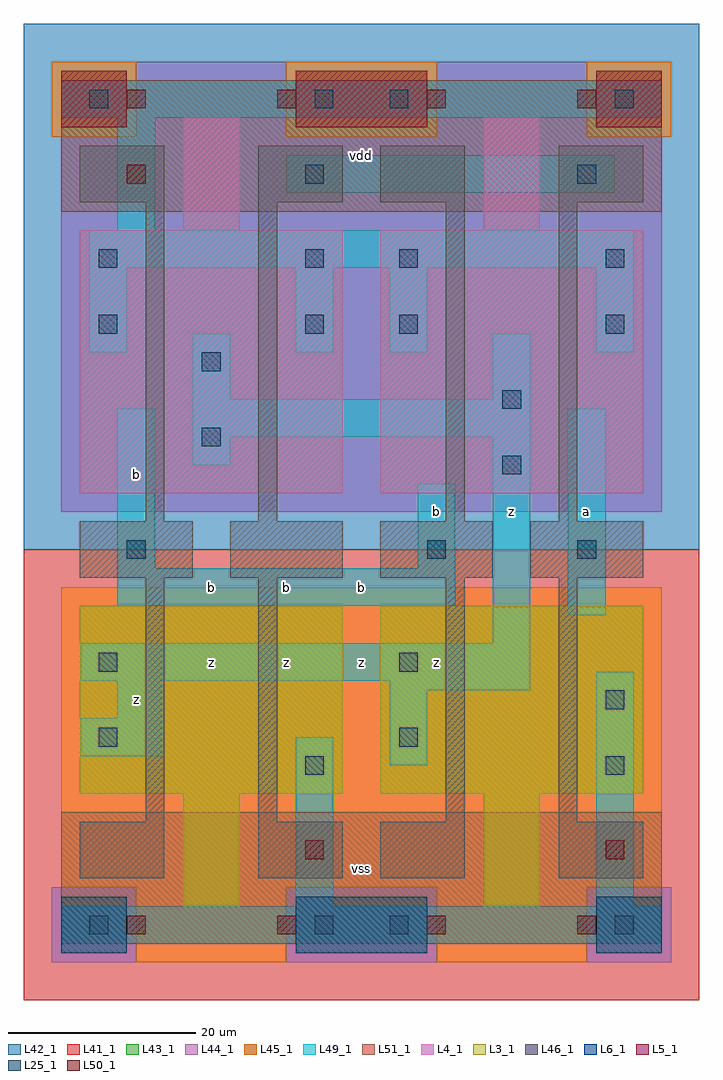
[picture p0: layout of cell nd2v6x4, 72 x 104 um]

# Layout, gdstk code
import gdstk
lib = gdstk.Library(unit=1e-6, precision=1e-09)
def R(c, l, rs):  # rectangles x0, y0, x1, y1
    for r in rs: c.add(gdstk.rectangle(r[:2], r[2:], *l))
def A(c, l, x, y, w, h, nx, ny, dx, dy):  # array of equal rectangles
    R(c, l, [(x+i*dx, y+j*dy, x+i*dx+w, y+j*dy+h) for i in range(nx) for j in range(ny)])
L3_1 = (3, 1)
L4_1 = (4, 1)
L5_1 = (5, 1)
L6_1 = (6, 1)
L25_1 = (25, 1)
L41_1 = (41, 1)
L42_1 = (42, 1)
L43_1 = (43, 1)
L44_1 = (44, 1)
L45_1 = (45, 1)
L46_1 = (46, 1)
L49_1 = (49, 1)
L50_1 = (50, 1)
L51_1 = (51, 1)

nd2v6x4 = lib.new_cell('nd2v6x4')
R(nd2v6x4, L3_1, [(13,2,19,14), (45,2,51,14), (2,14,30,34), (34,14,62,34)])
R(nd2v6x4, L4_1, [(2,46,30,74), (34,46,62,74), (13,74,19,86), (45,74,51,86)])
R(nd2v6x4, L5_1, [(0,85,7,91), (25,85,39,91), (57,85,64,91)])
R(nd2v6x4, L6_1, [(0,-3,7,3), (0,-3,7,3), (25,-3,39,3), (25,-3,39,3), (57,-3,64,3), (57,-3,64,3)])
R(nd2v6x4, L25_1, [(3,-1,5,1), (27,-1,29,1), (35,-1,37,1), (59,-1,61,1), (26,16,28,18), (58,16,60,18), (4,19,6,21), (36,19,38,21), (58,23,60,25), (4,27,6,29), (36,27,38,29), (7,39,9,41), (39,39,41,41), (55,39,57,41), (47,48,49,50), (15,51,17,53), (47,55,49,57), (15,59,17,61), (4,63,6,65), (26,63,28,65), (36,63,38,65), (58,63,60,65), (4,70,6,72), (26,70,28,72), (36,70,38,72), (58,70,60,72), (26,79,28,81), (55,79,57,81), (3,87,5,89), (27,87,29,89), (35,87,37,89), (59,87,61,89)])
R(nd2v6x4, L41_1, [(-4,-8,68,40)])
R(nd2v6x4, L42_1, [(-4,40,68,96)])
R(nd2v6x4, L43_1, [(0,-3,7,3), (25,-3,39,3), (57,-3,64,3), (13,2,19,14), (45,2,51,14), (2,14,30,34), (34,14,62,34), (2,46,30,74), (34,46,62,74), (13,74,19,86), (45,74,51,86), (0,85,7,91), (25,85,39,91), (57,85,64,91)])
R(nd2v6x4, L44_1, [(-1,-4,8,4), (24,-4,40,4), (56,-4,65,4), (0,44,64,84), (8,84,24,92), (40,84,56,92)])
R(nd2v6x4, L45_1, [(8,-4,24,4), (40,-4,56,4), (0,4,64,36), (-1,84,8,92), (24,84,40,92), (56,84,65,92)])
A(nd2v6x4, L46_1, 2, 37, 12, 6, 4, 1, 16, 0)
R(nd2v6x4, L46_1, [(2,5,11,11), (21,5,30,11), (34,5,43,11), (53,5,62,11), (9,11,11,37), (21,11,23,37), (41,11,43,37), (53,11,55,37), (9,43,11,77), (21,43,23,77), (41,43,43,77), (53,43,55,77), (2,77,11,83), (21,77,30,83), (34,77,43,83), (53,77,62,83)])
R(nd2v6x4, L49_1, [(0,-2,64,2), (25,2,29,20), (57,2,61,27), (35,17,39,25), (2,18,11,22), (6,22,11,26), (35,25,50,26), (2,26,50,30), (46,30,50,52), (54,33,58,55), (6,34,42,38), (6,38,10,55), (38,38,42,47), (14,49,18,52), (14,52,50,56), (14,56,18,63), (46,56,50,63), (3,61,7,70), (25,61,29,70), (35,61,39,70), (57,61,61,70), (3,70,61,74), (6,74,10,86), (24,78,59,82), (0,86,64,90)])
A(nd2v6x4, L50_1, 7, -1, 2, 2, 4, 2, 16, 88)
R(nd2v6x4, L50_1, [(26,7,28,9), (58,7,60,9), (7,79,9,81)])
R(nd2v6x4, L51_1, [(0,-2,64,12), (0,76,64,90)])
nd2v6x4.add(gdstk.Label('z', (8,24), layer=49, texttype=1))
nd2v6x4.add(gdstk.Label('b', (8,48), layer=49, texttype=1))
nd2v6x4.add(gdstk.Label('z', (16,28), layer=49, texttype=1))
nd2v6x4.add(gdstk.Label('b', (16,36), layer=49, texttype=1))
nd2v6x4.add(gdstk.Label('z', (24,28), layer=49, texttype=1))
nd2v6x4.add(gdstk.Label('z', (32,28), layer=49, texttype=1))
nd2v6x4.add(gdstk.Label('b', (32,36), layer=49, texttype=1))
nd2v6x4.add(gdstk.Label('b', (24,36), layer=49, texttype=1))
nd2v6x4.add(gdstk.Label('z', (40,28), layer=49, texttype=1))
nd2v6x4.add(gdstk.Label('b', (40,44), layer=49, texttype=1))
nd2v6x4.add(gdstk.Label('z', (48,44), layer=49, texttype=1))
nd2v6x4.add(gdstk.Label('a', (56,44), layer=49, texttype=1))
nd2v6x4.add(gdstk.Label('vss', (32,6), layer=51, texttype=1))
nd2v6x4.add(gdstk.Label('vdd', (32,82), layer=51, texttype=1))

lib.write_gds('nd2v6x4.gds')
